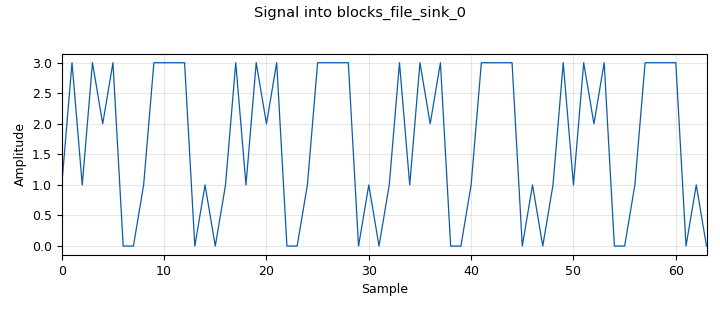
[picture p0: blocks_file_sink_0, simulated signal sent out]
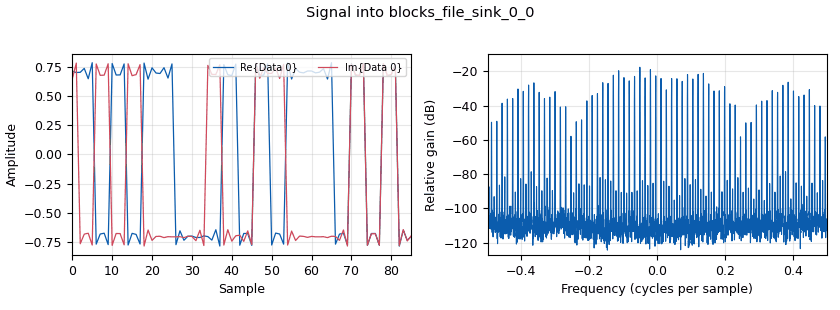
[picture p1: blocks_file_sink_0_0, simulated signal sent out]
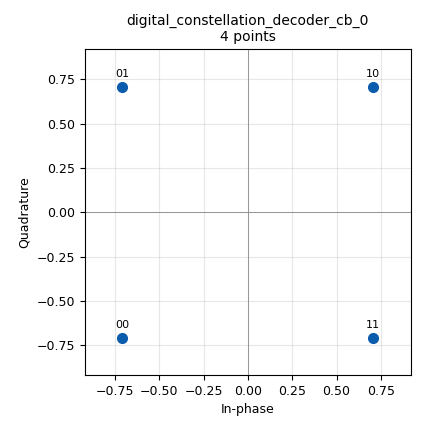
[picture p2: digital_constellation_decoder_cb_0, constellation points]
options:
  parameters:
    author: Osaze Shears
    generate_options: qt_gui
    id: qpsk_txrx
    output_language: python
    title: QPSK TX RX
  states: {}

blocks:
- name: freq
  id: variable
  parameters:
    value: '70000000'
  states: {}
- name: samp_rate
  id: variable
  parameters:
    value: '544000'
  states: {}
- name: sps
  id: variable
  parameters:
    value: '2'
  states: {}
- name: variable_constellation_0
  id: variable_constellation
  parameters:
    const_points: '[-1-1j, -1+1j, 1+1j, 1-1j]'
    dims: '1'
    normalization: digital.constellation.AMPLITUDE_NORMALIZATION
    precision: '8'
    rot_sym: '4'
    sym_map: '[0, 1, 3, 2]'
    type: calcdist
  states: {}
- name: variable_qtgui_range_amplitude
  id: variable_qtgui_range
  parameters:
    label: Amplitude
    start: '0'
    step: '0.1'
    stop: '2'
    value: '1.7'
  states: {}
- name: analog_random_source_x_0
  id: analog_random_source_x
  parameters:
    max: '4'
    min: '0'
    num_samps: '16'
    repeat: 'True'
    type: byte
  states: {}
- name: blocks_file_sink_0
  id: blocks_file_sink
  parameters:
    file: /home/oshears/Documents/bladeRF/bladerf_dfr_accelerator/gnu_radio/qpsk/tx_data.bin
    type: byte
  states: {}
- name: blocks_file_sink_0_0
  id: blocks_file_sink
  parameters:
    file: /home/oshears/Documents/bladeRF/bladerf_dfr_accelerator/gnu_radio/qpsk/tx_data_complex.bin
    type: complex
  states: {}
- name: blocks_file_sink_0_0_0
  id: blocks_file_sink
  parameters:
    file: /home/oshears/Documents/bladeRF/bladerf_dfr_accelerator/gnu_radio/qpsk/rx_data_complex.bin
    type: complex
  states: {}
- name: blocks_file_sink_0_1
  id: blocks_file_sink
  parameters:
    file: /home/oshears/Documents/bladeRF/bladerf_dfr_accelerator/gnu_radio/qpsk/rx_data.bin
    type: byte
  states: {}
- name: blocks_file_source_0
  id: blocks_file_source
  parameters:
    file: /home/oshears/Documents/bladeRF/bladerf_dfr_accelerator/gnu_radio/qpsk/tx_data.bin
    repeat: 'True'
    type: byte
  states: {state: disabled}
- name: blocks_multiply_const_vxx_0
  id: blocks_multiply_const_vxx
  parameters:
    const: variable_qtgui_range_amplitude
    type: complex
  states: {}
- name: digital_constellation_decoder_cb_0
  id: digital_constellation_decoder_cb
  parameters:
    constellation: variable_constellation_0
  states: {}
- name: digital_constellation_modulator_0
  id: digital_constellation_modulator
  parameters:
    constellation: variable_constellation_0
    differential: 'True'
    excess_bw: '0.35'
    samples_per_symbol: sps
  states: {}
- name: digital_costas_loop_cc_0
  id: digital_costas_loop_cc
  parameters:
    order: '4'
    w: (2*3.14)/100
  states: {}
- name: digital_symbol_sync_xx_0
  id: digital_symbol_sync_xx
  parameters:
    constellation: variable_constellation_0
    damping: '1.0'
    loop_bw: '0.045'
    max_dev: '1.5'
    osps: '1'
    resamp_type: digital.IR_MMSE_8TAP
    sps: sps
    ted_gain: '1.0'
    ted_type: digital.TED_MUELLER_AND_MULLER
    type: cc
  states: {state: disabled}
- name: digital_symbol_sync_xx_0_0
  id: digital_symbol_sync_xx
  parameters:
    damping: '1.0'
    loop_bw: '0.045'
    max_dev: '1.5'
    osps: '1'
    resamp_type: digital.IR_MMSE_8TAP
    sps: sps
    ted_gain: '1.0'
    ted_type: digital.TED_MUELLER_AND_MULLER
    type: cc
  states: {}
- name: qtgui_const_sink_x_0
  id: qtgui_const_sink_x
  parameters:
    grid: 'True'
    nconnections: '2'
    size: '1024'
    type: complex
  states: {}
- name: qtgui_freq_sink_x_0
  id: qtgui_freq_sink_x
  parameters:
    bw: samp_rate*16
    fc: freq
    fftsize: '1024'
    type: complex
  states: {}
- name: qtgui_time_sink_x_0
  id: qtgui_time_sink_x
  parameters:
    nconnections: '2'
    size: '1024'
    srate: samp_rate
    type: complex
  states: {}
- name: soapy_bladerf_sink_0
  id: soapy_bladerf_sink
  parameters:
    bandwidth: samp_rate
    center_freq: freq
    samp_rate: samp_rate
    type: fc32
  states: {}
- name: soapy_bladerf_source_0
  id: soapy_bladerf_source
  parameters:
    bandwidth: samp_rate
    center_freq: freq
    samp_rate: samp_rate
    type: fc32
  states: {}

connections:
- [analog_random_source_x_0, '0', blocks_file_sink_0, '0']
- [analog_random_source_x_0, '0', digital_constellation_modulator_0, '0']
- [blocks_file_source_0, '0', digital_constellation_modulator_0, '0']
- [blocks_multiply_const_vxx_0, '0', blocks_file_sink_0_0_0, '0']
- [blocks_multiply_const_vxx_0, '0', digital_constellation_decoder_cb_0, '0']
- [blocks_multiply_const_vxx_0, '0', qtgui_const_sink_x_0, '1']
- [blocks_multiply_const_vxx_0, '0', qtgui_time_sink_x_0, '1']
- [digital_constellation_decoder_cb_0, '0', blocks_file_sink_0_1, '0']
- [digital_constellation_modulator_0, '0', digital_symbol_sync_xx_0_0, '0']
- [digital_costas_loop_cc_0, '0', blocks_multiply_const_vxx_0, '0']
- [digital_symbol_sync_xx_0, '0', blocks_file_sink_0_0_0, '0']
- [digital_symbol_sync_xx_0, '0', digital_constellation_decoder_cb_0, '0']
- [digital_symbol_sync_xx_0_0, '0', blocks_file_sink_0_0, '0']
- [digital_symbol_sync_xx_0_0, '0', qtgui_const_sink_x_0, '0']
- [digital_symbol_sync_xx_0_0, '0', qtgui_time_sink_x_0, '0']
- [digital_symbol_sync_xx_0_0, '0', soapy_bladerf_sink_0, '0']
- [soapy_bladerf_source_0, '0', digital_costas_loop_cc_0, '0']
- [soapy_bladerf_source_0, '0', digital_symbol_sync_xx_0, '0']
- [soapy_bladerf_source_0, '0', qtgui_freq_sink_x_0, '0']

metadata:
  file_format: 1
